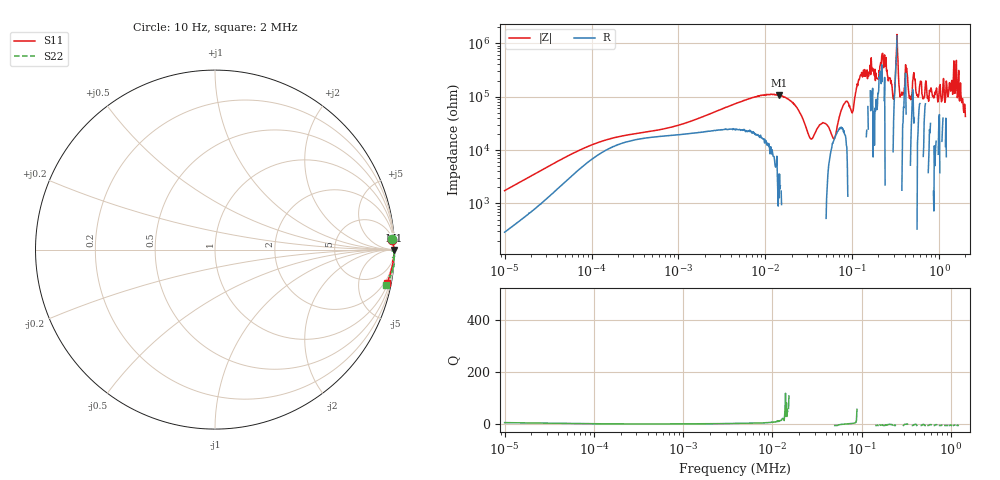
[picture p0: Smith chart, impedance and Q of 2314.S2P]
!Agilent Technologies,E5061B,MY49204007,A.02.12
!Date: Wed Jul 23 12:06:26 2025
!Data & Calibration Information:
!Freq	S11:SOLT2(ON)	S21:SOLT2(ON)	S12:SOLT2(ON)	S22:SOLT2(ON)
# Hz S dB R 50
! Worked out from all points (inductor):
!   1040 points, 10 Hz to 2 MHz, reference 50 ohm
!   read as one part in series: L = 26.5 H near 10.69 Hz
!   highest Q = 33.6 at 14.38 kHz (marker M1), where L = 1.17 H
!   self-resonance near 33.02 kHz
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10  -0.10 3.2  -24.89 -77.1  -24.90 -77.0  -0.08 3.4
77.209  -0.04 0.5  -40.37 -62.0  -40.38 -61.9  -0.02 0.7
588.818  -0.03 0.2  -47.56 -41.0  -47.56 -40.9  -0.01 0.4
4498.482  -0.01 0.0  -57.34 -71.1  -57.32 -70.3  0.01 0.2
14379.2  -0.00 -0.1  -60.47 -89.3  -60.35 -88.1  0.02 0.0
34305.13  -0.03 -0.2  -44.27 163.4  -44.28 163.6  -0.09 0.0
46458.21  -0.01 -0.2  -50.21 97.1  -50.28 96.7  0.00 -0.1
62179.94  -0.03 -0.3  -44.33 8.6  -44.43 8.6  -0.13 -0.2
79996  -0.01 -0.4  -57.19 -71.5  -57.15 -70.8  -0.00 0.0
101083.2  -0.03 -0.5  -54.55 -175.1  -54.35 -175.0  -0.00 -0.2
126375  -0.01 -0.7  -67.93 97.1  -67.86 94.8  0.00 -0.4
194767.4  -0.02 -1.1  -66.72 69.9  -68.96 66.7  0.01 -0.9
220895.6  -0.01 -1.2  -76.10 71.4  -85.87 87.0  0.01 -1.0
261946.5  -0.02 -1.4  -66.61 99.6  -66.11 105.0  0.00 -1.3
291268.7  -0.02 -1.6  -60.80 98.4  -61.43 95.7  -0.01 -1.5
331153.5  -0.02 -1.8  -76.83 138.0  -80.95 167.9  -0.00 -1.6
371645.6  -0.02 -1.9  -61.73 87.3  -60.54 80.0  0.00 -1.9
415907  -0.03 -2.2  -69.29 78.5  -69.42 77.9  -0.00 -2.2
466262.9  -0.03 -2.5  -59.92 84.5  -59.79 80.5  -0.01 -2.6
1016303  -0.07 -5.5  -63.66 82.9  -65.56 101.2  -0.03 -5.9
1574823  -0.14 -8.5  -73.73 164.1  -70.77 -171.4  -0.10 -9.1
2000000  -0.21 -11.0  -52.90 -131.9  -52.85 -132.8  -0.24 -11.8
